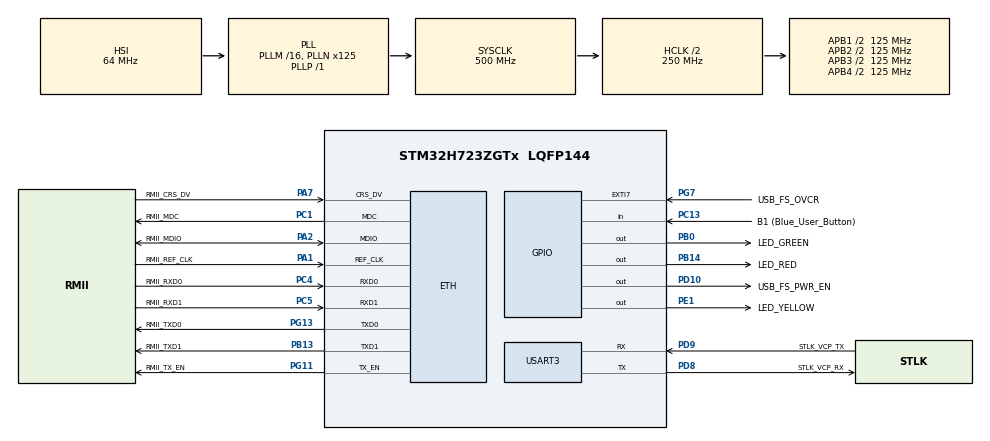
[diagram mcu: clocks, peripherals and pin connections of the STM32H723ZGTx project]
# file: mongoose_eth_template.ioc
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CORTEX_M7.AccessPermission_S-Cortex_Memory_Protection_Unit_Region1_Settings_S=MPU_REGION_FULL_ACCESS
CORTEX_M7.AccessPermission_S-Cortex_Memory_Protection_Unit_Region2_Settings_S=MPU_REGION_FULL_ACCESS
CORTEX_M7.BaseAddress_S-Cortex_Memory_Protection_Unit_Region1_Settings_S=0x30000000
CORTEX_M7.BaseAddress_S-Cortex_Memory_Protection_Unit_Region2_Settings_S=0x30000000
CORTEX_M7.CPU_DCache=Enabled
CORTEX_M7.CPU_ICache=Enabled
CORTEX_M7.DisableExec_S-Cortex_Memory_Protection_Unit_Region1_Settings_S=MPU_INSTRUCTION_ACCESS_DISABLE
CORTEX_M7.DisableExec_S-Cortex_Memory_Protection_Unit_Region2_Settings_S=MPU_INSTRUCTION_ACCESS_DISABLE
CORTEX_M7.Enable_S-Cortex_Memory_Protection_Unit_Region1_Settings_S=MPU_REGION_ENABLE
CORTEX_M7.Enable_S-Cortex_Memory_Protection_Unit_Region2_Settings_S=MPU_REGION_ENABLE
CORTEX_M7.IsBufferable_S-Cortex_Memory_Protection_Unit_Region2_Settings_S=MPU_ACCESS_BUFFERABLE
CORTEX_M7.IsShareable_S-Cortex_Memory_Protection_Unit_Region2_Settings_S=MPU_ACCESS_SHAREABLE
CORTEX_M7.Size_S-Cortex_Memory_Protection_Unit_Region1_Settings_S=MPU_REGION_SIZE_32KB
CORTEX_M7.Size_S-Cortex_Memory_Protection_Unit_Region2_Settings_S=MPU_REGION_SIZE_512B
CORTEX_M7.TypeExtField_S-Cortex_Memory_Protection_Unit_Region1_Settings_S=MPU_TEX_LEVEL1
CORTEX_M7.default_mode_Activation=1
Cesanta.I-CUBE-Mongoose.7.13.0.MG_ARCH=MG_ARCH_CMSIS_RTOS2
Cesanta.I-CUBE-Mongoose.7.13.0.MG_ENABLE_CUSTOM_MILLIS=true
Cesanta.I-CUBE-Mongoose.7.13.0.MG_ENABLE_CUSTOM_RANDOM=true
Cesanta.I-CUBE-Mongoose.7.13.0.MG_ENABLE_MBEDTLS=true
Cesanta.I-CUBE-Mongoose.7.13.0.MG_ENABLE_PACKED_FS=true
Cesanta.I-CUBE-Mongoose.7.13.0.MG_STMPACK_NET=1
Cesanta.I-CUBE-Mongoose.7.13.0.NetworkOoLibraryJjMongoose=true
ETH.MediaInterface=HAL_ETH_RMII_MODE
ETH.RxBuffAddress=0x30000200
ETH.RxBuffLen=1536
ETH.TxDescAddress=0x30000100
FREERTOS.Tasks01=defaultTask,24,512,StartDefaultTask,Default,NULL,Dynamic,NULL,NULL
FREERTOS.configCHECK_FOR_STACK_OVERFLOW=1
FREERTOS.configMINIMAL_STACK_SIZE=512
FREERTOS.configTOTAL_HEAP_SIZE=30*1024
FREERTOS.configUSE_NEWLIB_REENTRANT=1
LWIP.BSP.number=1
LWIP.DEFAULT_THREAD_STACKSIZE=2048
LWIP.IP_ADDRESS=192.168.001.010
LWIP.LWIP_DHCP=0
LWIP.LWIP_HTTPD=0
LWIP.LWIP_RAM_HEAP_POINTER=0x30000200
LWIP.MEM_SIZE=32232
LWIP.NETMASK_ADDRESS=255.255.255.000
LWIP.TCPIP_THREAD_STACKSIZE=2048
LWIP.TCP_MSS=1460
LWIP.TCP_SND_BUF=5840
LWIP.TCP_SND_QUEUELEN=16
LWIP.Version=v2.1.2_Cube
LWIP0.BSP.STBoard=false
LWIP0.BSP.api=BSP_COMPONENT_DRIVER
LWIP0.BSP.component=LAN8742
LWIP0.BSP.instance=LAN8742
LWIP0.BSP.name=Driver_PHY
LWIP0.BSP.semaphore=S_LAN8742
LWIP0.BSP.solution=LAN8742
Mcu.Family=STM32H7
Mcu.Name=STM32H723ZGTx
Mcu.Package=LQFP144
NVIC.ETH_IRQn=true\:5\:0\:false\:false\:true\:true\:true\:true\:true
NVIC.PriorityGroup=NVIC_PRIORITYGROUP_4
NVIC.TIM6_DAC_IRQn=true\:15\:0\:false\:false\:true\:false\:false\:true\:true
NVIC.TimeBase=TIM6_DAC_IRQn
NVIC.TimeBaseIP=TIM6
NVIC.USART3_IRQn=true\:5\:0\:false\:false\:true\:true\:true\:true\:true
PA1.GPIO_Label=RMII_REF_CLK
PA1.GPIO_Speed=GPIO_SPEED_FREQ_VERY_HIGH
PA1.Mode=RMII
PA1.Signal=ETH_REF_CLK
PA10.GPIO_Label=USB_FS_ID
PA10.Signal=USB_OTG_HS_ID
PA13(JTMS/SWDIO).GPIO_Label=SWDIO
PA13(JTMS/SWDIO).Signal=DEBUG_JTMS-SWDIO
PA14(JTCK/SWCLK).GPIO_Label=SWCLK
PA14(JTCK/SWCLK).Signal=DEBUG_JTCK-SWCLK
PA2.GPIO_Label=RMII_MDIO
PA2.GPIO_Speed=GPIO_SPEED_FREQ_VERY_HIGH
PA2.Mode=RMII
PA2.Signal=ETH_MDIO
PA7.GPIO_Label=RMII_CRS_DV
PA7.GPIO_Speed=GPIO_SPEED_FREQ_VERY_HIGH
PA7.Mode=RMII
PA7.Signal=ETH_CRS_DV
PA9.GPIO_Label=USB_FS_VBUS
PA9.Signal=USB_OTG_HS_VBUS
PB0.GPIO_Label=LED_GREEN
PB0.Signal=GPIO_Output
PB13.GPIO_Label=RMII_TXD1
PB13.GPIO_Speed=GPIO_SPEED_FREQ_VERY_HIGH
PB13.Mode=RMII
PB13.Signal=ETH_TXD1
PB14.GPIO_Label=LED_RED
PB14.Signal=GPIO_Output
PB3(JTDO/TRACESWO).GPIO_Label=SWO
PB3(JTDO/TRACESWO).Signal=DEBUG_JTDO-SWO
PC1.GPIO_Label=RMII_MDC
PC1.GPIO_Speed=GPIO_SPEED_FREQ_VERY_HIGH
PC1.Mode=RMII
PC1.Signal=ETH_MDC
PC13.GPIO_Label=B1 (Blue_User_Button)
PC13.Signal=GPIO_Input
PC14-OSC32_IN.Signal=RCC_OSC32_IN
PC15-OSC32_OUT.Signal=RCC_OSC32_OUT
PC4.GPIO_Label=RMII_RXD0
PC4.GPIO_Speed=GPIO_SPEED_FREQ_VERY_HIGH
PC4.Mode=RMII
PC4.Signal=ETH_RXD0
PC5.GPIO_Label=RMII_RXD1
PC5.GPIO_Speed=GPIO_SPEED_FREQ_VERY_HIGH
PC5.Mode=RMII
PC5.Signal=ETH_RXD1
PD10.GPIO_Label=USB_FS_PWR_EN
PD10.Signal=GPIO_Output
PD8.GPIO_Label=STLK_VCP_RX
PD8.Mode=Asynchronous
PD8.Signal=USART3_TX
PD9.GPIO_Label=STLK_VCP_TX
PD9.Mode=Asynchronous
PD9.Signal=USART3_RX
PE1.GPIO_Label=LED_YELLOW
PE1.Signal=GPIO_Output
PG11.GPIO_Label=RMII_TX_EN
PG11.GPIO_Speed=GPIO_SPEED_FREQ_VERY_HIGH
PG11.Mode=RMII
PG11.Signal=ETH_TX_EN
PG13.GPIO_Label=RMII_TXD0
PG13.GPIO_Speed=GPIO_SPEED_FREQ_VERY_HIGH
PG13.Mode=RMII
PG13.Signal=ETH_TXD0
PG7.GPIO_Label=USB_FS_OVCR
PG7.Signal=GPXTI7
PH0-OSC_IN.GPIO_Label=MCO
PH0-OSC_IN.Signal=RCC_OSC_IN
PH1-OSC_OUT.Signal=RCC_OSC_OUT
ProjectManager.HeapSize=0x200
ProjectManager.StackSize=0x400
ProjectManager.TargetToolchain=STM32CubeIDE
RCC.ADCFreq_Value=608000000
RCC.APB1Freq_Value=125000000
RCC.APB2Freq_Value=125000000
RCC.APB3Freq_Value=125000000
RCC.APB4Freq_Value=125000000
RCC.CortexFreq_Value=500000000
RCC.D1PPRE=RCC_APB3_DIV2
RCC.D2PPRE1=RCC_APB1_DIV2
RCC.D2PPRE2=RCC_APB2_DIV2
RCC.D3PPRE=RCC_APB4_DIV2
RCC.DIVM1=16
RCC.DIVM2=1
RCC.DIVN1=125
RCC.DIVN2=19
RCC.DIVP1=1
RCC.DIVQ1=4
RCC.HCLKFreq_Value=250000000
RCC.HPRE=RCC_HCLK_DIV2
RCC.HSE_VALUE=8000000
RCC.PLLFRACN=0
RCC.SYSCLKFreq_VALUE=500000000
RCC.SYSCLKSource=RCC_SYSCLKSOURCE_PLLCLK
RCC.USBCLockSelection=RCC_USBCLKSOURCE_HSI48
RCC.USBFreq_Value=48000000
USART3.VirtualMode-Asynchronous=VM_ASYNC
VP_Cesanta.I-CUBE-Mongoose_VS_NetworkOoLibraryJjMongoose_7.13.0_7.13.0.Mode=NetworkOoLibraryJjMongoose
VP_FREERTOS_VS_CMSIS_V2.Mode=CMSIS_V2
VP_LWIP_VS_Enabled.Mode=Enabled
VP_RNG_VS_RNG.Mode=RNG_Activate
VP_SYS_VS_tim6.Mode=TIM6
board=NUCLEO-H723ZG

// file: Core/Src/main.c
/* USER CODE BEGIN Header */
/**
  ******************************************************************************
  * @file           : main.c
  * @brief          : Main program body
  ******************************************************************************
  * @attention
  *
  * Copyright (c) 2022 STMicroelectronics.
  * All rights reserved.
  *
  * This software is licensed under terms that can be found in the LICENSE file
  * in the root directory of this software component.
  * If no LICENSE file comes with this software, it is provided AS-IS.
  *
  ******************************************************************************
  */
/* USER CODE END Header */
#include "main.h"
#include "cmsis_os.h"
#include "lwip.h"

/* USER CODE BEGIN Includes */
/* ETH_CODE: add lwiperf, see comment in StartDefaultTask function */
#include "lwip/apps/lwiperf.h"
#include "mongoose.h"

#include "http/routers/main_router.h"
/* USER CODE END Includes */

RNG_HandleTypeDef hrng;

UART_HandleTypeDef huart3;

/* Definitions for defaultTask */
osThreadId_t defaultTaskHandle;
const osThreadAttr_t defaultTask_attributes = {
  .name = "defaultTask",
  .stack_size = 8192,
  .priority = (osPriority_t) osPriorityNormal,
};
/* USER CODE BEGIN PV */

osThreadId_t http_testHandle;
const osThreadAttr_t http_test_attributes = {
  .name = "http_test",
  .stack_size = 4096 * 1,
  .priority = (osPriority_t) osPriorityNormal,
};

osSemaphoreId_t startDefaultTaskSemaphore;
/* USER CODE END PV */

void SystemClock_Config(void);
static void MPU_Config(void);
static void MX_GPIO_Init(void);
static void MX_USART3_UART_Init(void);
static void MX_RNG_Init(void);
void StartDefaultTask(void *argument);

/* USER CODE BEGIN PFP */
void Starthttp(void *argument);
/* USER CODE END PFP */

/* USER CODE BEGIN 0 */

uint8_t static inline numconns(struct mg_mgr *mgr) {
  int n = 0;
  for (struct mg_connection *t = mgr->conns; t != NULL; t = t->next) {
//	  printf("IP ADDR 192.168.1.3 at port: %d", t->loc.port);
	  n++;
  }
  return n;
}

static void fn(struct mg_connection *c, int ev, void *ev_data) {
  if (ev == MG_EV_HTTP_MSG) {
	  handle_http_request(c, ev_data);
  }
  if (ev == MG_EV_ACCEPT) {
	  uint8_t active_connections = numconns(c->mgr);
	  printf("Active TCP connections: %d\r\n", active_connections);
	  if (active_connections > 5) {
        MG_ERROR(("Too many connections\r\n"));
        c->is_closing = 1;
//  	  mg_mgr_free(c->mgr);
//  	  mg_mgr_init(c->mgr);
	  }
  }
  else if (ev == MG_EV_ERROR){
	  printf("yams print - MG_EV_ERROR /r/n");
  }
}

//void mg_random(void *buf, size_t len) {  // Use on-board RNG
//  extern RNG_HandleTypeDef hrng;
//  for (size_t n = 0; n < len; n += sizeof(uint32_t)) {
//    uint32_t r;
//    HAL_RNG_GenerateRandomNumber(&hrng, &r);
//    memcpy((char *) buf + n, &r, n + sizeof(r) > len ? len - n : sizeof(r));
//  }
//}

/* USER CODE END 0 */

int main(void)
{

  /* MPU Configuration--------------------------------------------------------*/
  MPU_Config();

  /* Enable I-Cache---------------------------------------------------------*/
  SCB_EnableICache();

  /* Enable D-Cache---------------------------------------------------------*/
  SCB_EnableDCache();

  /* MCU Configuration--------------------------------------------------------*/

  /* Reset of all peripherals, Initializes the Flash interface and the Systick. */
  HAL_Init();

  /* Configure the system clock */
  SystemClock_Config();

  /* Initialize all configured peripherals */
  MX_GPIO_Init();
  MX_USART3_UART_Init();
  MX_RNG_Init();

  /* Init scheduler */
  osKernelInitialize();

  /* USER CODE BEGIN RTOS_SEMAPHORES */
  /* add semaphores, ... */
  startDefaultTaskSemaphore = osSemaphoreNew(1, 0, NULL); // Create semaphore with initial value 0

  /* USER CODE END RTOS_SEMAPHORES */

  /* Create the thread(s) */
  /* creation of defaultTask */
  defaultTaskHandle = osThreadNew(StartDefaultTask, NULL, &defaultTask_attributes);

  /* USER CODE BEGIN RTOS_THREADS */
  /* add threads, ... */
  http_testHandle = osThreadNew(Starthttp, NULL, &http_test_attributes);
  /* USER CODE END RTOS_THREADS */

  /* Start scheduler */
  osKernelStart();

  /* We should never get here as control is now taken by the scheduler */
  /* Infinite loop */
  while (1)
  {

  }
}

void SystemClock_Config(void)
{
  RCC_OscInitTypeDef RCC_OscInitStruct = {0};
  RCC_ClkInitTypeDef RCC_ClkInitStruct = {0};

  /** Supply configuration update enable
  */
  HAL_PWREx_ConfigSupply(PWR_LDO_SUPPLY);

  /** Configure the main internal regulator output voltage
  */
  __HAL_PWR_VOLTAGESCALING_CONFIG(PWR_REGULATOR_VOLTAGE_SCALE0);

  while(!__HAL_PWR_GET_FLAG(PWR_FLAG_VOSRDY)) {}

  /** Initializes the RCC Oscillators according to the specified parameters
  * in the RCC_OscInitTypeDef structure.
  */
  RCC_OscInitStruct.OscillatorType = RCC_OSCILLATORTYPE_HSI48|RCC_OSCILLATORTYPE_HSI;
  RCC_OscInitStruct.HSIState = RCC_HSI_DIV1;
  RCC_OscInitStruct.HSICalibrationValue = RCC_HSICALIBRATION_DEFAULT;
  RCC_OscInitStruct.HSI48State = RCC_HSI48_ON;
  RCC_OscInitStruct.PLL.PLLState = RCC_PLL_ON;
  RCC_OscInitStruct.PLL.PLLSource = RCC_PLLSOURCE_HSI;
  RCC_OscInitStruct.PLL.PLLM = 16;
  RCC_OscInitStruct.PLL.PLLN = 125;
  RCC_OscInitStruct.PLL.PLLP = 1;
  RCC_OscInitStruct.PLL.PLLQ = 4;
  RCC_OscInitStruct.PLL.PLLR = 2;
  RCC_OscInitStruct.PLL.PLLRGE = RCC_PLL1VCIRANGE_2;
  RCC_OscInitStruct.PLL.PLLVCOSEL = RCC_PLL1VCOWIDE;
  RCC_OscInitStruct.PLL.PLLFRACN = 0;
  if (HAL_RCC_OscConfig(&RCC_OscInitStruct) != HAL_OK)
  {
    Error_Handler();
  }

  /** Initializes the CPU, AHB and APB buses clocks
  */
  RCC_ClkInitStruct.ClockType = RCC_CLOCKTYPE_HCLK|RCC_CLOCKTYPE_SYSCLK
                              |RCC_CLOCKTYPE_PCLK1|RCC_CLOCKTYPE_PCLK2
                              |RCC_CLOCKTYPE_D3PCLK1|RCC_CLOCKTYPE_D1PCLK1;
  RCC_ClkInitStruct.SYSCLKSource = RCC_SYSCLKSOURCE_PLLCLK;
  RCC_ClkInitStruct.SYSCLKDivider = RCC_SYSCLK_DIV1;
  RCC_ClkInitStruct.AHBCLKDivider = RCC_HCLK_DIV2;
  RCC_ClkInitStruct.APB3CLKDivider = RCC_APB3_DIV2;
  RCC_ClkInitStruct.APB1CLKDivider = RCC_APB1_DIV2;
  RCC_ClkInitStruct.APB2CLKDivider = RCC_APB2_DIV2;
  RCC_ClkInitStruct.APB4CLKDivider = RCC_APB4_DIV2;

  if (HAL_RCC_ClockConfig(&RCC_ClkInitStruct, FLASH_LATENCY_3) != HAL_OK)
  {
    Error_Handler();
  }
}

static void MX_RNG_Init(void)
{

  hrng.Instance = RNG;
  hrng.Init.ClockErrorDetection = RNG_CED_ENABLE;
  if (HAL_RNG_Init(&hrng) != HAL_OK)
  {
    Error_Handler();
  }

}

static void MX_USART3_UART_Init(void)
{

  huart3.Instance = USART3;
  huart3.Init.BaudRate = 115200;
  huart3.Init.WordLength = UART_WORDLENGTH_8B;
  huart3.Init.StopBits = UART_STOPBITS_1;
  huart3.Init.Parity = UART_PARITY_NONE;
  huart3.Init.Mode = UART_MODE_TX_RX;
  huart3.Init.HwFlowCtl = UART_HWCONTROL_NONE;
  huart3.Init.OverSampling = UART_OVERSAMPLING_16;
  huart3.Init.OneBitSampling = UART_ONE_BIT_SAMPLE_DISABLE;
  huart3.Init.ClockPrescaler = UART_PRESCALER_DIV1;
  huart3.AdvancedInit.AdvFeatureInit = UART_ADVFEATURE_NO_INIT;
  if (HAL_UART_Init(&huart3) != HAL_OK)
  {
    Error_Handler();
  }
  if (HAL_UARTEx_SetTxFifoThreshold(&huart3, UART_TXFIFO_THRESHOLD_1_8) != HAL_OK)
  {
    Error_Handler();
  }
  if (HAL_UARTEx_SetRxFifoThreshold(&huart3, UART_RXFIFO_THRESHOLD_1_8) != HAL_OK)
  {
    Error_Handler();
  }
  if (HAL_UARTEx_DisableFifoMode(&huart3) != HAL_OK)
  {
    Error_Handler();
  }

}

static void MX_GPIO_Init(void)
{
  GPIO_InitTypeDef GPIO_InitStruct = {0};

  /* GPIO Ports Clock Enable */
  __HAL_RCC_GPIOC_CLK_ENABLE();
  __HAL_RCC_GPIOH_CLK_ENABLE();
  __HAL_RCC_GPIOA_CLK_ENABLE();
  __HAL_RCC_GPIOB_CLK_ENABLE();
  __HAL_RCC_GPIOD_CLK_ENABLE();
  __HAL_RCC_GPIOG_CLK_ENABLE();
  __HAL_RCC_GPIOE_CLK_ENABLE();

  /*Configure GPIO pin Output Level */
  HAL_GPIO_WritePin(GPIOB, LED_GREEN_Pin|LED_RED_Pin, GPIO_PIN_RESET);

  /*Configure GPIO pin Output Level */
  HAL_GPIO_WritePin(USB_FS_PWR_EN_GPIO_Port, USB_FS_PWR_EN_Pin, GPIO_PIN_RESET);

  /*Configure GPIO pin Output Level */
  HAL_GPIO_WritePin(LED_YELLOW_GPIO_Port, LED_YELLOW_Pin, GPIO_PIN_RESET);

  /*Configure GPIO pin : B1_Pin */
  GPIO_InitStruct.Pin = B1_Pin;
  GPIO_InitStruct.Mode = GPIO_MODE_INPUT;
  GPIO_InitStruct.Pull = GPIO_NOPULL;
  HAL_GPIO_Init(B1_GPIO_Port, &GPIO_InitStruct);

  /*Configure GPIO pins : LED_GREEN_Pin LED_RED_Pin */
  GPIO_InitStruct.Pin = LED_GREEN_Pin|LED_RED_Pin;
  GPIO_InitStruct.Mode = GPIO_MODE_OUTPUT_PP;
  GPIO_InitStruct.Pull = GPIO_NOPULL;
  GPIO_InitStruct.Speed = GPIO_SPEED_FREQ_LOW;
  HAL_GPIO_Init(GPIOB, &GPIO_InitStruct);

  /*Configure GPIO pin : USB_FS_PWR_EN_Pin */
  GPIO_InitStruct.Pin = USB_FS_PWR_EN_Pin;
  GPIO_InitStruct.Mode = GPIO_MODE_OUTPUT_PP;
  GPIO_InitStruct.Pull = GPIO_NOPULL;
  GPIO_InitStruct.Speed = GPIO_SPEED_FREQ_LOW;
  HAL_GPIO_Init(USB_FS_PWR_EN_GPIO_Port, &GPIO_InitStruct);

  /*Configure GPIO pin : USB_FS_OVCR_Pin */
  GPIO_InitStruct.Pin = USB_FS_OVCR_Pin;
  GPIO_InitStruct.Mode = GPIO_MODE_IT_RISING;
  GPIO_InitStruct.Pull = GPIO_NOPULL;
  HAL_GPIO_Init(USB_FS_OVCR_GPIO_Port, &GPIO_InitStruct);

  /*Configure GPIO pin : USB_FS_ID_Pin */
  GPIO_InitStruct.Pin = USB_FS_ID_Pin;
  GPIO_InitStruct.Mode = GPIO_MODE_AF_PP;
  GPIO_InitStruct.Pull = GPIO_NOPULL;
  GPIO_InitStruct.Speed = GPIO_SPEED_FREQ_LOW;
  GPIO_InitStruct.Alternate = GPIO_AF10_OTG1_HS;
  HAL_GPIO_Init(USB_FS_ID_GPIO_Port, &GPIO_InitStruct);

  /*Configure GPIO pin : LED_YELLOW_Pin */
  GPIO_InitStruct.Pin = LED_YELLOW_Pin;
  GPIO_InitStruct.Mode = GPIO_MODE_OUTPUT_PP;
  GPIO_InitStruct.Pull = GPIO_NOPULL;
  GPIO_InitStruct.Speed = GPIO_SPEED_FREQ_LOW;
  HAL_GPIO_Init(LED_YELLOW_GPIO_Port, &GPIO_InitStruct);

}

/* USER CODE BEGIN 4 */
void Starthttp(void *argument)
{
  /* USER CODE BEGIN Starthttp */

	osSemaphoreAcquire(startDefaultTaskSemaphore, osWaitForever);
	osDelay(1000);
	HAL_GPIO_WritePin(GPIOB, LED_GREEN_Pin, GPIO_PIN_SET);
//	http_thread(argument);
//	HAL_GPIO_WritePin(GPIOB, LED_GREEN_Pin, GPIO_PIN_RESET);
  /* Infinite loop */
  for(;;)
  {
    osDelay(1);
  }
  /* USER CODE END Starthttp */
}
/* USER CODE END 4 */

void StartDefaultTask(void *argument)
{
  /* init code for LWIP */
  MX_LWIP_Init();
  /* USER CODE BEGIN 5 */

  	LOCK_TCPIP_CORE();
    lwiperf_start_tcp_server_default(NULL, NULL);
    UNLOCK_TCPIP_CORE();
    osDelay(1000);
    HAL_GPIO_WritePin(GPIOE, LED_YELLOW_Pin, GPIO_PIN_SET);

    extern struct netif gnetif;
    while (ip4_addr_isany_val(*netif_ip4_addr(&gnetif))) {
      osDelay(200);
    }
    // Mongoose:::::::::::::::::::::::::::::::::::::::::::::::::::::::::::::::::::::::
    MG_INFO(("READY, IP: %s", ip4addr_ntoa(netif_ip4_addr(&gnetif))));
    struct mg_mgr mgr;
    mg_log_set(MG_LL_DEBUG);
    mg_mgr_init(&mgr);

//    web_init(&mgr);
    mg_http_listen(&mgr, "http://0.0.0.0", fn, &mgr);

    osSemaphoreRelease(startDefaultTaskSemaphore);
    for(;;)
    {
      mg_mgr_poll(&mgr, 500);
    }

  /* USER CODE END 5 */
}

/* MPU Configuration */

void MPU_Config(void)
{
  MPU_Region_InitTypeDef MPU_InitStruct = {0};

  /* Disables the MPU */
  HAL_MPU_Disable();

  /** Initializes and configures the Region and the memory to be protected
  */
  MPU_InitStruct.Enable = MPU_REGION_ENABLE;
  MPU_InitStruct.Number = MPU_REGION_NUMBER0;
  MPU_InitStruct.BaseAddress = 0x0;
  MPU_InitStruct.Size = MPU_REGION_SIZE_4GB;
  MPU_InitStruct.SubRegionDisable = 0x87;
  MPU_InitStruct.TypeExtField = MPU_TEX_LEVEL0;
  MPU_InitStruct.AccessPermission = MPU_REGION_NO_ACCESS;
  MPU_InitStruct.DisableExec = MPU_INSTRUCTION_ACCESS_DISABLE;
  MPU_InitStruct.IsShareable = MPU_ACCESS_SHAREABLE;
  MPU_InitStruct.IsCacheable = MPU_ACCESS_NOT_CACHEABLE;
  MPU_InitStruct.IsBufferable = MPU_ACCESS_NOT_BUFFERABLE;

  HAL_MPU_ConfigRegion(&MPU_InitStruct);

  /** Initializes and configures the Region and the memory to be protected
  */
  MPU_InitStruct.Number = MPU_REGION_NUMBER1;
  MPU_InitStruct.BaseAddress = 0x30000000;
  MPU_InitStruct.Size = MPU_REGION_SIZE_32KB;
  MPU_InitStruct.SubRegionDisable = 0x0;
  MPU_InitStruct.TypeExtField = MPU_TEX_LEVEL1;
  MPU_InitStruct.AccessPermission = MPU_REGION_FULL_ACCESS;
  MPU_InitStruct.IsShareable = MPU_ACCESS_NOT_SHAREABLE;

  HAL_MPU_ConfigRegion(&MPU_InitStruct);

  /** Initializes and configures the Region and the memory to be protected
  */
  MPU_InitStruct.Number = MPU_REGION_NUMBER2;
  MPU_InitStruct.Size = MPU_REGION_SIZE_512B;
  MPU_InitStruct.TypeExtField = MPU_TEX_LEVEL0;
  MPU_InitStruct.IsShareable = MPU_ACCESS_SHAREABLE;
  MPU_InitStruct.IsBufferable = MPU_ACCESS_BUFFERABLE;

  HAL_MPU_ConfigRegion(&MPU_InitStruct);
  /* Enables the MPU */
  HAL_MPU_Enable(MPU_PRIVILEGED_DEFAULT);

}

void HAL_TIM_PeriodElapsedCallback(TIM_HandleTypeDef *htim)
{
  if (htim->Instance == TIM6) {
    HAL_IncTick();
  }
}

void Error_Handler(void)
{
  __disable_irq();
  while (1)
  {
  }
}
